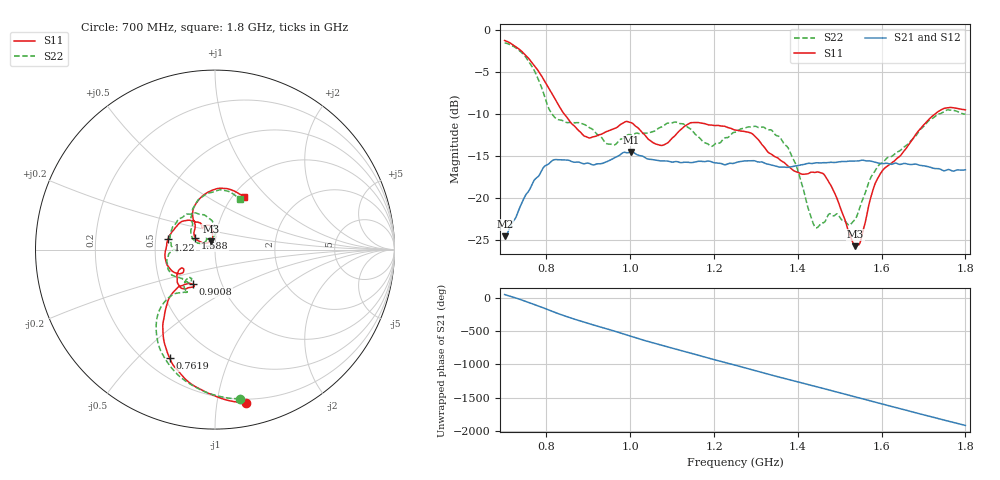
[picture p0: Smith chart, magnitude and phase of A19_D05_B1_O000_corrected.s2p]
! Created with skrf 1.9.0 (http://scikit-rf.org).
# Hz S RI R 50.0
!freq ReS11 ImS11 ReS21 ImS21 ReS12 ImS12 ReS22 ImS22
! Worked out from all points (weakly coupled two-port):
!   1601 points, 700 MHz to 1.8 GHz, reference 50 ohm
!   highest |S21| = -14.52 dB at 1.002 GHz (marker M1); lowest = -24.6 dB at 700.7 MHz (marker M2)
!   lowest |S11| = -25.8 dB at 1.537 GHz (marker M3), VSWR 1.11, Z = 47.5 + j4.37 ohm
!   |S11| at or under -10 dB: 842.4 MHz to 1.727 GHz (884.8 MHz wide, 68.9 % of centre)
!   |S22| runs from -23.6 to -1.5 dB; largest |S21 - S12| = 0.0035
!   S11 on the Smith chart (normalised r, x): 700 MHz: 0.17, -1.21; 761.9 MHz: 0.29, -0.63; 900.8 MHz: 0.73, -0.30; 1.22 GHz: 0.58, +0.07; 1.588 GHz: 0.80, +0.10; 1.8 GHz: 1.13, +0.74
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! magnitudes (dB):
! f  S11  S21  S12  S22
! 700 MHz  -1.2  -24.6  -24.4  -1.5
! 700.7 MHz  -1.2  -24.6  -24.3  -1.5
! 761.9 MHz  -3.7  -18.8  -18.7  -4.0
! 817.6 MHz  -7.9  -15.5  -15.6  -10.3
! 883.6 MHz  -12.3  -15.9  -15.8  -11.1
! 900.8 MHz  -12.8  -15.9  -15.9  -11.6
! 947.5 MHz  -12.0  -15.6  -15.6  -13.6
! 1.002 GHz  -11.0  -14.5  -14.6  -12.5
! 1.067 GHz  -13.7  -15.6  -15.5  -11.7
! 1.144 GHz  -11.0  -15.8  -15.8  -11.8
! 1.22 GHz  -11.4  -16.0  -16.0  -13.1
! 1.25 GHz  -11.9  -15.8  -15.8  -12.2
! 1.357 GHz  -15.5  -16.3  -16.3  -12.8
! 1.395 GHz  -16.9  -16.2  -16.2  -16.0
! 1.434 GHz  -16.9  -15.9  -15.9  -22.6
! 1.476 GHz  -18.2  -15.8  -15.8  -21.9
! 1.537 GHz  -25.8  -15.6  -15.6  -22.5
! 1.55 GHz  -25.1  -15.5  -15.5  -20.9
! 1.588 GHz  -17.9  -15.8  -15.8  -16.4
! 1.617 GHz  -16.1  -15.9  -15.9  -15.1
! 1.733 GHz  -9.8  -16.5  -16.5  -10.1
! 1.8 GHz  -9.5  -16.6  -16.6  -10.0
